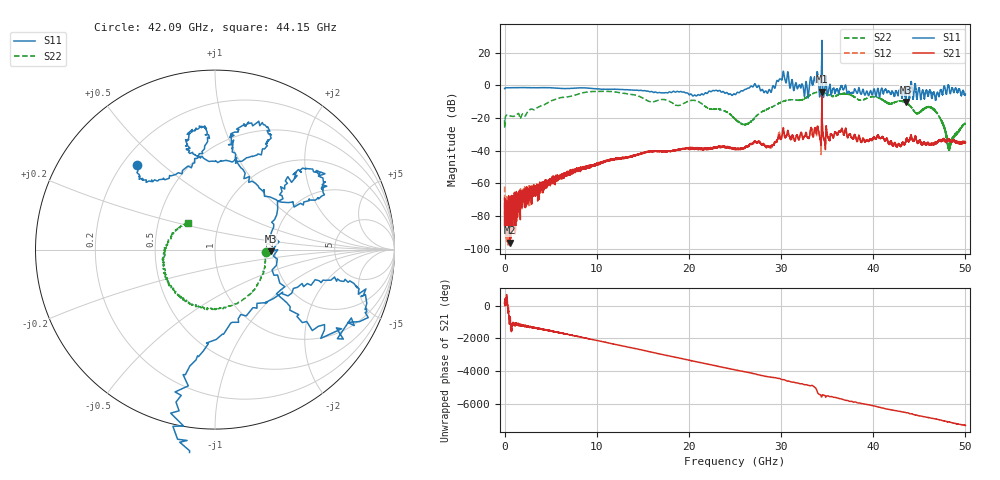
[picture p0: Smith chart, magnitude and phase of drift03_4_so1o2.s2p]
!Created with skrf (http://scikit-rf.org).
# Hz S RI R 50.0
!freq ReS11 ImS11 ReS21 ImS21 ReS12 ImS12 ReS22 ImS22
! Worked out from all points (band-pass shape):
!   10001 points, 300 kHz to 50 GHz, reference 50 ohm
!   highest |S21| = -3.83 dB at 34.43 GHz (marker M1); lowest = -96.3 dB at 605.3 MHz (marker M2)
!   |S21| within 3 dB of the highest: 34.42691 GHz to 34.43452 GHz (7.605 MHz wide, 0.0221 % of centre)
!   lowest |S11| = -10.1 dB at 43.53 GHz (marker M3), VSWR 1.91, Z = 95.5 - j2.03 ohm
!   |S11| at or under -10 dB: 43.52969 GHz to 43.53048 GHz (787.6 kHz wide, 0.00181 % of centre)
!   |S22| runs from -39.6 to -3.6 dB; largest |S21 - S12| = 0.21
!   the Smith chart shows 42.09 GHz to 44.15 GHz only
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300000  -0.7737 -0.1611  -0.000267 0.000233  -0.000583 -0.000537  -0.0461 -0.0737
6.052964e8  -0.2798 0.7997  2.3e-07 -1.54e-05  -1.2e-05 9.57e-05  0.0135 -0.1154
2.325286e9  0.0908 -0.8507  -0.000443 0.000166  -0.000414 8.09e-05  0.1229 0.0343
3.940276e9  -0.0316 0.8525  0.000778 0.000382  0.000733 0.000167  -0.2345 0.0244
8.33525e9  0.6669 -0.5166  -0.00171 -0.00221  -0.00188 -0.00214  0.5524 -0.1791
9.620242e9  -0.7931 -0.0884  0.000552 0.0035  0.000533 0.00349  -0.6374 -0.1312
1.132523e10  0.7601 0.0292  -0.00258 -0.00455  -0.00248 -0.00453  0.6271 -0.192
1.66702e10  -0.4013 0.4467  0.00701 -0.00699  0.00663 -0.00693  0.3497 0.0154
2.500015e10  -0.1322 -0.5111  0.0081 0.0077  0.00823 0.00794  -0.0794 0.0515
2.676014e10  0.0296 0.9601  -0.0129 -0.0104  -0.0124 -0.0101  0.079 -0.0132
2.821013e10  -0.1899 -0.5917  0.0132 0.00596  0.0132 0.00633  -0.1373 -0.0998
2.955012e10  -1.076 0.9177  -0.00259 -0.0201  -0.00262 -0.019  0.0793 0.2502
3.011012e10  0.5262 1.422  -0.0303 -0.00102  -0.0298 0.000219  0.3008 0.0914
3.069012e10  2.044 -1.166  0.00855 0.0365  0.0109 0.0316  0.2805 -0.2191
3.136011e10  0.0686 -0.703  0.0235 0.00829  0.0241 0.00729  -0.0967 -0.3481
3.33351e10  -0.1846 1.318  -0.0429 -0.000588  -0.0416 -0.000346  0.5429 0.0196
3.443009e10  -19.49 -13.72  -0.129 -0.6307  -0.23 -0.4429  -0.211 -0.5884
3.681508e10  0.7806 -0.0675  0.028 0.0153  0.0275 0.0148  0.0836 -0.5589
4.167005e10  -0.6421 0.1551  -0.0154 0.0053  -0.0156 0.00514  0.1475 0.2405
4.353004e10  0.3131 -0.0096  0.0159 -0.0127  0.0157 -0.0113  -0.2895 -0.1069
4.823001e10  -0.8234 -0.2614  -0.00986 0.0193  -0.0109 0.0189  -0.0144 0.00346
5e10  0.5059 -0.1793  -0.00141 -0.018  -0.000928 -0.0187  0.0295 -0.0618
